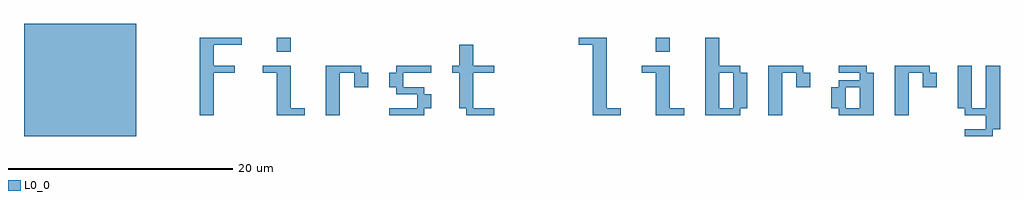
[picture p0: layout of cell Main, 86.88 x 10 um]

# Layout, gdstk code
import gdstk
lib = gdstk.Library(unit=1e-6, precision=1e-09)
def R(c, l, rs):  # rectangles x0, y0, x1, y1
    for r in rs: c.add(gdstk.rectangle(r[:2], r[2:], *l))
def P(c, l, *ps):  # polygons
    for p in ps: c.add(gdstk.Polygon(p, *l))
L0_0 = (0, 0)

circle = lib.new_cell('Circle')
P(circle, L0_0, [(4,0),(3.961,0.557),(3.845,1.103),(3.654,1.627),(3.392,2.12),(3.064,2.571),(2.677,2.973),(2.237,3.316),(1.753,3.595),(1.236,3.804),(0.695,3.939),(0.14,3.998),(-0.418,3.978),(-0.968,3.881),(-1.498,3.709),(-2,3.464),(-2.463,3.152),(-2.877,2.779),(-3.236,2.351),(-3.532,1.878),(-3.759,1.368),(-3.913,0.832),(-3.99,0.279),(-3.99,-0.279),(-3.913,-0.832),(-3.759,-1.368),(-3.532,-1.878),(-3.236,-2.351),(-2.877,-2.779),(-2.463,-3.152),(-2,-3.464),(-1.498,-3.709),(-0.968,-3.881),(-0.418,-3.978),(0.14,-3.998),(0.695,-3.939),(1.236,-3.804),(1.753,-3.595),(2.237,-3.316),(2.677,-2.973),(3.064,-2.571),(3.392,-2.12),(3.654,-1.627),(3.845,-1.103),(3.961,-0.557)])

square = lib.new_cell('Square')
R(square, L0_0, [(-15,0,-5,10)])
square.add(gdstk.Reference(circle, (-10,5)))

main = lib.new_cell('Main')
R(main, L0_0, [(7.5,7.5,8.75,8.75), (41.25,7.5,42.5,8.75)])
P(main, L0_0, [(1.875,1.875),(1.875,5.625),(3.75,5.625),(3.75,6.25),(1.875,6.25),(1.875,8.125),(4.375,8.125),(4.375,8.75),(0.625,8.75),(0.625,1.875)],
  [(7.5,1.875),(10,1.875),(10,2.5),(8.75,2.5),(8.75,6.25),(6.25,6.25),(6.25,5.625),(7.5,5.625)],
  [(13.125,1.875),(13.125,5.625),(14.375,5.625),(14.375,4.375),(15.625,4.375),(15.625,5.625),(15,5.625),(15,6.25),(11.875,6.25),(11.875,1.875)],
  [(17.5,4.375),(18.125,4.375),(18.125,3.75),(20,3.75),(20,2.5),(17.5,2.5),(17.5,1.875),(20.625,1.875),(20.625,2.5),(21.25,2.5),(21.25,3.75),(20.625,3.75),(20.625,4.375),(18.75,4.375),(18.75,5.625),(21.25,5.625),(21.25,6.25),(18.125,6.25),(18.125,5.625),(17.5,5.625)],
  [(23.125,6.25),(23.125,5.625),(23.75,5.625),(23.75,2.5),(24.375,2.5),(24.375,1.875),(26.875,1.875),(26.875,2.5),(25,2.5),(25,5.625),(26.875,5.625),(26.875,6.25),(25,6.25),(25,8.125),(23.75,8.125),(23.75,6.25)],
  [(35.625,1.875),(38.125,1.875),(38.125,2.5),(36.875,2.5),(36.875,8.75),(34.375,8.75),(34.375,8.125),(35.625,8.125)],
  [(41.25,1.875),(43.75,1.875),(43.75,2.5),(42.5,2.5),(42.5,6.25),(40,6.25),(40,5.625),(41.25,5.625)],
  [(49.375,5.625),(48.75,5.625),(48.75,6.25),(46.875,6.25),(46.875,8.75),(45.625,8.75),(45.625,2.5),(46.875,2.5),(46.875,5.625),(48.125,5.625),(48.125,2.5),(46.875,2.5),(45.625,2.5),(45.625,1.875),(48.75,1.875),(48.75,2.5),(49.375,2.5)],
  [(52.5,1.875),(52.5,5.625),(53.75,5.625),(53.75,4.375),(55,4.375),(55,5.625),(54.375,5.625),(54.375,6.25),(51.25,6.25),(51.25,1.875)],
  [(60,5.625),(60,6.25),(57.5,6.25),(57.5,5.625),(59.375,5.625),(59.375,5),(57.5,5),(57.5,4.375),(56.875,4.375),(56.875,2.5),(58.125,2.5),(58.125,4.375),(59.375,4.375),(59.375,2.5),(58.125,2.5),(56.875,2.5),(57.5,2.5),(57.5,1.875),(60.625,1.875),(60.625,5.625)],
  [(63.75,1.875),(63.75,5.625),(65,5.625),(65,4.375),(66.25,4.375),(66.25,5.625),(65.625,5.625),(65.625,6.25),(62.5,6.25),(62.5,1.875)],
  [(68.75,2.5),(68.75,1.875),(70.625,1.875),(70.625,0.625),(68.75,0.625),(68.75,0),(71.25,0),(71.25,0.625),(71.875,0.625),(71.875,6.25),(70.625,6.25),(70.625,2.5),(69.375,2.5),(69.375,6.25),(68.125,6.25),(68.125,2.5)])
main.add(gdstk.Reference(square, (0,0)))

lib.write_gds('Main.gds')
